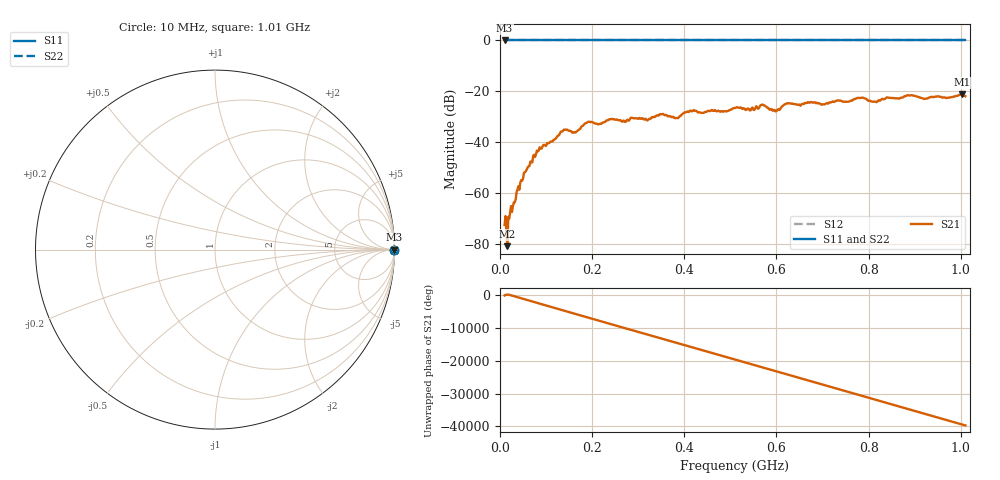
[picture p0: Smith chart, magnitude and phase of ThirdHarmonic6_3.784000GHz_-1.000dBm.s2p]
! 8/17/2025 1:03:18 PM
! C:\ANRITSUVNA\TEMP\TEMP.S2P
! CHANNEL.1
! TR.MEASUREMENT
! RAW.DATA
! RF.CORRECTION.OFF
! AVERAGING.OFF
! IF.BANDWIDTH: 5KHZ
! SWEEPTYPE:  FREQ.SWEEP(Linear)
! Reference Plane Port Info
! PORT:  PORT1  PORT2
! DISTANCE:  0  m  0  m
! TIME:  0  s  0  s
! PHASE.OFFSET:  0  deg.  0  deg.
! LOSS:  0  dB  0  dB
! REF.LOSS:  0  dB  0  dB
! REF.FREQ:  0  Hz  0  Hz
! Power Info
! POWER:  -20  dBm  -20  dBm
! EFF.POWER:  -20  dBm  -20  dBm
! SOURCE.ATTEN:  0  dB  0  dB
! TEST.ATTEN:  0  dB  0  dB
# GHZ S RI R 50.0
! FREQ.GHZ  S11RE  S11IM  S21RE  S21IM  S12RE  S12IM  S22RE  S22IM
!; PortSelection: Port_12
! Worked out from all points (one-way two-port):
!   501 points, 10 MHz to 1.01 GHz, reference 50 ohm
!   highest |S21| = -21.21 dB at 1.002 GHz (marker M1); lowest = -80.9 dB at 16 MHz (marker M2)
!   lowest |S11| = 0.0 dB at 10 MHz (marker M3)
!   |S11| at or under -10 dB: nowhere
!   |S22| runs from 0.0 to 0.0 dB; largest |S21 - S12| = 1.1
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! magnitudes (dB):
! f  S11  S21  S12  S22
! 10 MHz  0.0  -72.5  0.0  0.0
! 12 MHz  0.0  -69.0  0.0  0.0
! 16 MHz  0.0  -80.9  0.0  0.0
! 22 MHz  0.0  -67.4  0.0  0.0
! 42 MHz  0.0  -58.6  0.0  0.0
! 82 MHz  0.0  -43.6  0.0  0.0
! 136 MHz  0.0  -35.7  0.0  0.0
! 162 MHz  0.0  -36.2  0.0  0.0
! 178 MHz  0.0  -33.7  0.0  0.0
! 194 MHz  0.0  -32.0  0.0  0.0
! 322 MHz  0.0  -31.0  0.0  0.0
! 344 MHz  0.0  -29.5  0.0  0.0
! 384 MHz  0.0  -30.4  0.0  0.0
! 416 MHz  0.0  -27.8  0.0  0.0
! 510 MHz  0.0  -26.6  0.0  0.0
! 570 MHz  0.0  -25.2  0.0  0.0
! 596 MHz  0.0  -27.3  0.0  0.0
! 622 MHz  0.0  -24.8  0.0  0.0
! 678 MHz  0.0  -24.4  0.0  0.0
! 844 MHz  0.0  -22.5  0.0  0.0
! 1.002 GHz  0.0  -21.2  0.0  0.0
! 1.01 GHz  0.0  -21.9  0.0  0.0
